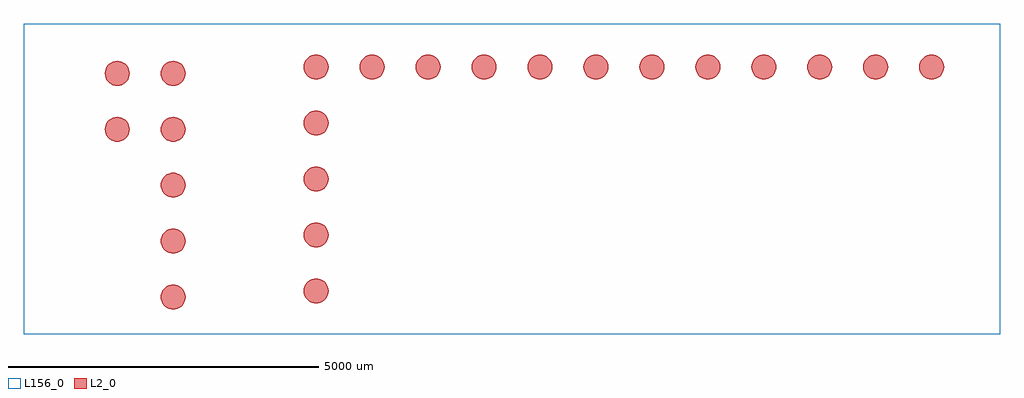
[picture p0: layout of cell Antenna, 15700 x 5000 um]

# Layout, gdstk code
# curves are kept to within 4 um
import gdstk
lib = gdstk.Library(unit=1e-6, precision=1e-09)
def R(c, l, rs):  # rectangles x0, y0, x1, y1
    for r in rs: c.add(gdstk.rectangle(r[:2], r[2:], *l))
def P(c, l, *ps):  # polygons
    for p in ps: c.add(gdstk.Polygon(p, *l))
L2_0 = (2, 0)
L156_0 = (156, 0)

antenna = lib.new_cell('Antenna')
P(antenna, L2_0, [(-39900,11200),(-39912.061,11131.596),(-39946.791,11071.442),(-39971.442,11046.791),(-40031.596,11012.061),(-40100,11000),(-40168.404,11012.061),(-40228.558,11046.791),(-40253.209,11071.442),(-40287.939,11131.596),(-40300,11200),(-40287.939,11268.404),(-40253.209,11328.558),(-40228.558,11353.209),(-40168.404,11387.939),(-40100,11400),(-40031.596,11387.939),(-39971.442,11353.209),(-39946.791,11328.558),(-39912.061,11268.404)],
  [(-39900,12100),(-39912.061,12031.596),(-39946.791,11971.442),(-39971.442,11946.791),(-40031.596,11912.061),(-40100,11900),(-40168.404,11912.061),(-40228.558,11946.791),(-40253.209,11971.442),(-40287.939,12031.596),(-40300,12100),(-40287.939,12168.404),(-40253.209,12228.558),(-40228.558,12253.209),(-40168.404,12287.939),(-40100,12300),(-40031.596,12287.939),(-39971.442,12253.209),(-39946.791,12228.558),(-39912.061,12168.404)],
  [(-29000,14000),(-28987.939,14068.404),(-28953.209,14128.558),(-28928.558,14153.209),(-28868.404,14187.939),(-28800,14200),(-28731.596,14187.939),(-28671.442,14153.209),(-28646.791,14128.558),(-28612.061,14068.404),(-28600,14000),(-28612.061,13931.596),(-28646.791,13871.442),(-28671.442,13846.791),(-28731.596,13812.061),(-28800,13800),(-28868.404,13812.061),(-28928.558,13846.791),(-28953.209,13871.442),(-28987.939,13931.596)],
  [(-38000,10400),(-37987.939,10468.404),(-37953.209,10528.558),(-37928.558,10553.209),(-37868.404,10587.939),(-37800,10600),(-37731.596,10587.939),(-37671.442,10553.209),(-37646.791,10528.558),(-37612.061,10468.404),(-37600,10400),(-37612.061,10331.596),(-37646.791,10271.442),(-37671.442,10246.791),(-37731.596,10212.061),(-37800,10200),(-37868.404,10212.061),(-37928.558,10246.791),(-37953.209,10271.442),(-37987.939,10331.596)],
  [(-32600,14000),(-32587.939,14068.404),(-32553.209,14128.558),(-32528.558,14153.209),(-32468.404,14187.939),(-32400,14200),(-32331.596,14187.939),(-32271.442,14153.209),(-32246.791,14128.558),(-32212.061,14068.404),(-32200,14000),(-32212.061,13931.596),(-32246.791,13871.442),(-32271.442,13846.791),(-32331.596,13812.061),(-32400,13800),(-32468.404,13812.061),(-32528.558,13846.791),(-32553.209,13871.442),(-32587.939,13931.596)],
  [(-32200,14000),(-32212.061,13931.596),(-32246.791,13871.442),(-32271.442,13846.791),(-32331.596,13812.061),(-32400,13800),(-32468.404,13812.061),(-32528.558,13846.791),(-32553.209,13871.442),(-32587.939,13931.596),(-32600,14000),(-32587.939,14068.404),(-32553.209,14128.558),(-32528.558,14153.209),(-32468.404,14187.939),(-32400,14200),(-32331.596,14187.939),(-32271.442,14153.209),(-32246.791,14128.558),(-32212.061,14068.404)],
  [(-37600,10400),(-37612.061,10331.596),(-37646.791,10271.442),(-37671.442,10246.791),(-37731.596,10212.061),(-37800,10200),(-37868.404,10212.061),(-37928.558,10246.791),(-37953.209,10271.442),(-37987.939,10331.596),(-38000,10400),(-37987.939,10468.404),(-37953.209,10528.558),(-37928.558,10553.209),(-37868.404,10587.939),(-37800,10600),(-37731.596,10587.939),(-37671.442,10553.209),(-37646.791,10528.558),(-37612.061,10468.404)],
  [(-40800,13900),(-40812.061,13831.596),(-40846.791,13771.442),(-40871.442,13746.791),(-40931.596,13712.061),(-41000,13700),(-41068.404,13712.061),(-41128.558,13746.791),(-41153.209,13771.442),(-41187.939,13831.596),(-41200,13900),(-41187.939,13968.404),(-41153.209,14028.558),(-41128.558,14053.209),(-41068.404,14087.939),(-41000,14100),(-40931.596,14087.939),(-40871.442,14053.209),(-40846.791,14028.558),(-40812.061,13968.404)],
  [(-30400,14000),(-30412.061,13931.596),(-30446.791,13871.442),(-30471.442,13846.791),(-30531.596,13812.061),(-30600,13800),(-30668.404,13812.061),(-30728.558,13846.791),(-30753.209,13871.442),(-30787.939,13931.596),(-30800,14000),(-30787.939,14068.404),(-30753.209,14128.558),(-30728.558,14153.209),(-30668.404,14187.939),(-30600,14200),(-30531.596,14187.939),(-30471.442,14153.209),(-30446.791,14128.558),(-30412.061,14068.404)],
  [(-34000,14000),(-34012.061,13931.596),(-34046.791,13871.442),(-34071.442,13846.791),(-34131.596,13812.061),(-34200,13800),(-34268.404,13812.061),(-34328.558,13846.791),(-34353.209,13871.442),(-34387.939,13931.596),(-34400,14000),(-34387.939,14068.404),(-34353.209,14128.558),(-34328.558,14153.209),(-34268.404,14187.939),(-34200,14200),(-34131.596,14187.939),(-34071.442,14153.209),(-34046.791,14128.558),(-34012.061,14068.404)],
  [(-32200,14000),(-32212.061,13931.596),(-32246.791,13871.442),(-32271.442,13846.791),(-32331.596,13812.061),(-32400,13800),(-32468.404,13812.061),(-32528.558,13846.791),(-32553.209,13871.442),(-32587.939,13931.596),(-32600,14000),(-32587.939,14068.404),(-32553.209,14128.558),(-32528.558,14153.209),(-32468.404,14187.939),(-32400,14200),(-32331.596,14187.939),(-32271.442,14153.209),(-32246.791,14128.558),(-32212.061,14068.404)],
  [(-37600,12200),(-37612.061,12131.596),(-37646.791,12071.442),(-37671.442,12046.791),(-37731.596,12012.061),(-37800,12000),(-37868.404,12012.061),(-37928.558,12046.791),(-37953.209,12071.442),(-37987.939,12131.596),(-38000,12200),(-37987.939,12268.404),(-37953.209,12328.558),(-37928.558,12353.209),(-37868.404,12387.939),(-37800,12400),(-37731.596,12387.939),(-37671.442,12353.209),(-37646.791,12328.558),(-37612.061,12268.404)],
  [(-39900,12100),(-39912.061,12031.596),(-39946.791,11971.442),(-39971.442,11946.791),(-40031.596,11912.061),(-40100,11900),(-40168.404,11912.061),(-40228.558,11946.791),(-40253.209,11971.442),(-40287.939,12031.596),(-40300,12100),(-40287.939,12168.404),(-40253.209,12228.558),(-40228.558,12253.209),(-40168.404,12287.939),(-40100,12300),(-40031.596,12287.939),(-39971.442,12253.209),(-39946.791,12228.558),(-39912.061,12168.404)],
  [(-39900,10300),(-39912.061,10231.596),(-39946.791,10171.442),(-39971.442,10146.791),(-40031.596,10112.061),(-40100,10100),(-40168.404,10112.061),(-40228.558,10146.791),(-40253.209,10171.442),(-40287.939,10231.596),(-40300,10300),(-40287.939,10368.404),(-40253.209,10428.558),(-40228.558,10453.209),(-40168.404,10487.939),(-40100,10500),(-40031.596,10487.939),(-39971.442,10453.209),(-39946.791,10428.558),(-39912.061,10368.404)],
  [(-34900,14000),(-34912.061,13931.596),(-34946.791,13871.442),(-34971.442,13846.791),(-35031.596,13812.061),(-35100,13800),(-35168.404,13812.061),(-35228.558,13846.791),(-35253.209,13871.442),(-35287.939,13931.596),(-35300,14000),(-35287.939,14068.404),(-35253.209,14128.558),(-35228.558,14153.209),(-35168.404,14187.939),(-35100,14200),(-35031.596,14187.939),(-34971.442,14153.209),(-34946.791,14128.558),(-34912.061,14068.404)],
  [(-38000,14000),(-37987.939,14068.404),(-37953.209,14128.558),(-37928.558,14153.209),(-37868.404,14187.939),(-37800,14200),(-37731.596,14187.939),(-37671.442,14153.209),(-37646.791,14128.558),(-37612.061,14068.404),(-37600,14000),(-37612.061,13931.596),(-37646.791,13871.442),(-37671.442,13846.791),(-37731.596,13812.061),(-37800,13800),(-37868.404,13812.061),(-37928.558,13846.791),(-37953.209,13871.442),(-37987.939,13931.596)],
  [(-37600,14000),(-37612.061,13931.596),(-37646.791,13871.442),(-37671.442,13846.791),(-37731.596,13812.061),(-37800,13800),(-37868.404,13812.061),(-37928.558,13846.791),(-37953.209,13871.442),(-37987.939,13931.596),(-38000,14000),(-37987.939,14068.404),(-37953.209,14128.558),(-37928.558,14153.209),(-37868.404,14187.939),(-37800,14200),(-37731.596,14187.939),(-37671.442,14153.209),(-37646.791,14128.558),(-37612.061,14068.404)],
  [(-37600,14000),(-37612.061,13931.596),(-37646.791,13871.442),(-37671.442,13846.791),(-37731.596,13812.061),(-37800,13800),(-37868.404,13812.061),(-37928.558,13846.791),(-37953.209,13871.442),(-37987.939,13931.596),(-38000,14000),(-37987.939,14068.404),(-37953.209,14128.558),(-37928.558,14153.209),(-37868.404,14187.939),(-37800,14200),(-37731.596,14187.939),(-37671.442,14153.209),(-37646.791,14128.558),(-37612.061,14068.404)],
  [(-35800,14000),(-35812.061,13931.596),(-35846.791,13871.442),(-35871.442,13846.791),(-35931.596,13812.061),(-36000,13800),(-36068.404,13812.061),(-36128.558,13846.791),(-36153.209,13871.442),(-36187.939,13931.596),(-36200,14000),(-36187.939,14068.404),(-36153.209,14128.558),(-36128.558,14153.209),(-36068.404,14187.939),(-36000,14200),(-35931.596,14187.939),(-35871.442,14153.209),(-35846.791,14128.558),(-35812.061,14068.404)],
  [(-30800,14000),(-30787.939,14068.404),(-30753.209,14128.558),(-30728.558,14153.209),(-30668.404,14187.939),(-30600,14200),(-30531.596,14187.939),(-30471.442,14153.209),(-30446.791,14128.558),(-30412.061,14068.404),(-30400,14000),(-30412.061,13931.596),(-30446.791,13871.442),(-30471.442,13846.791),(-30531.596,13812.061),(-30600,13800),(-30668.404,13812.061),(-30728.558,13846.791),(-30753.209,13871.442),(-30787.939,13931.596)],
  [(-30400,14000),(-30412.061,13931.596),(-30446.791,13871.442),(-30471.442,13846.791),(-30531.596,13812.061),(-30600,13800),(-30668.404,13812.061),(-30728.558,13846.791),(-30753.209,13871.442),(-30787.939,13931.596),(-30800,14000),(-30787.939,14068.404),(-30753.209,14128.558),(-30728.558,14153.209),(-30668.404,14187.939),(-30600,14200),(-30531.596,14187.939),(-30471.442,14153.209),(-30446.791,14128.558),(-30412.061,14068.404)],
  [(-27700,14000),(-27712.061,13931.596),(-27746.791,13871.442),(-27771.442,13846.791),(-27831.596,13812.061),(-27900,13800),(-27968.404,13812.061),(-28028.558,13846.791),(-28053.209,13871.442),(-28087.939,13931.596),(-28100,14000),(-28087.939,14068.404),(-28053.209,14128.558),(-28028.558,14153.209),(-27968.404,14187.939),(-27900,14200),(-27831.596,14187.939),(-27771.442,14153.209),(-27746.791,14128.558),(-27712.061,14068.404)],
  [(-37600,13100),(-37612.061,13031.596),(-37646.791,12971.442),(-37671.442,12946.791),(-37731.596,12912.061),(-37800,12900),(-37868.404,12912.061),(-37928.558,12946.791),(-37953.209,12971.442),(-37987.939,13031.596),(-38000,13100),(-37987.939,13168.404),(-37953.209,13228.558),(-37928.558,13253.209),(-37868.404,13287.939),(-37800,13300),(-37731.596,13287.939),(-37671.442,13253.209),(-37646.791,13228.558),(-37612.061,13168.404)],
  [(-34400,14000),(-34387.939,14068.404),(-34353.209,14128.558),(-34328.558,14153.209),(-34268.404,14187.939),(-34200,14200),(-34131.596,14187.939),(-34071.442,14153.209),(-34046.791,14128.558),(-34012.061,14068.404),(-34000,14000),(-34012.061,13931.596),(-34046.791,13871.442),(-34071.442,13846.791),(-34131.596,13812.061),(-34200,13800),(-34268.404,13812.061),(-34328.558,13846.791),(-34353.209,13871.442),(-34387.939,13931.596)],
  [(-39900,10300),(-39912.061,10231.596),(-39946.791,10171.442),(-39971.442,10146.791),(-40031.596,10112.061),(-40100,10100),(-40168.404,10112.061),(-40228.558,10146.791),(-40253.209,10171.442),(-40287.939,10231.596),(-40300,10300),(-40287.939,10368.404),(-40253.209,10428.558),(-40228.558,10453.209),(-40168.404,10487.939),(-40100,10500),(-40031.596,10487.939),(-39971.442,10453.209),(-39946.791,10428.558),(-39912.061,10368.404)],
  [(-35800,14000),(-35812.061,13931.596),(-35846.791,13871.442),(-35871.442,13846.791),(-35931.596,13812.061),(-36000,13800),(-36068.404,13812.061),(-36128.558,13846.791),(-36153.209,13871.442),(-36187.939,13931.596),(-36200,14000),(-36187.939,14068.404),(-36153.209,14128.558),(-36128.558,14153.209),(-36068.404,14187.939),(-36000,14200),(-35931.596,14187.939),(-35871.442,14153.209),(-35846.791,14128.558),(-35812.061,14068.404)],
  [(-37600,10400),(-37612.061,10331.596),(-37646.791,10271.442),(-37671.442,10246.791),(-37731.596,10212.061),(-37800,10200),(-37868.404,10212.061),(-37928.558,10246.791),(-37953.209,10271.442),(-37987.939,10331.596),(-38000,10400),(-37987.939,10468.404),(-37953.209,10528.558),(-37928.558,10553.209),(-37868.404,10587.939),(-37800,10600),(-37731.596,10587.939),(-37671.442,10553.209),(-37646.791,10528.558),(-37612.061,10468.404)],
  [(-34000,14000),(-34012.061,13931.596),(-34046.791,13871.442),(-34071.442,13846.791),(-34131.596,13812.061),(-34200,13800),(-34268.404,13812.061),(-34328.558,13846.791),(-34353.209,13871.442),(-34387.939,13931.596),(-34400,14000),(-34387.939,14068.404),(-34353.209,14128.558),(-34328.558,14153.209),(-34268.404,14187.939),(-34200,14200),(-34131.596,14187.939),(-34071.442,14153.209),(-34046.791,14128.558),(-34012.061,14068.404)],
  [(-29500,14000),(-29512.061,13931.596),(-29546.791,13871.442),(-29571.442,13846.791),(-29631.596,13812.061),(-29700,13800),(-29768.404,13812.061),(-29828.558,13846.791),(-29853.209,13871.442),(-29887.939,13931.596),(-29900,14000),(-29887.939,14068.404),(-29853.209,14128.558),(-29828.558,14153.209),(-29768.404,14187.939),(-29700,14200),(-29631.596,14187.939),(-29571.442,14153.209),(-29546.791,14128.558),(-29512.061,14068.404)],
  [(-37600,11300),(-37612.061,11231.596),(-37646.791,11171.442),(-37671.442,11146.791),(-37731.596,11112.061),(-37800,11100),(-37868.404,11112.061),(-37928.558,11146.791),(-37953.209,11171.442),(-37987.939,11231.596),(-38000,11300),(-37987.939,11368.404),(-37953.209,11428.558),(-37928.558,11453.209),(-37868.404,11487.939),(-37800,11500),(-37731.596,11487.939),(-37671.442,11453.209),(-37646.791,11428.558),(-37612.061,11368.404)],
  [(-31300,14000),(-31312.061,13931.596),(-31346.791,13871.442),(-31371.442,13846.791),(-31431.596,13812.061),(-31500,13800),(-31568.404,13812.061),(-31628.558,13846.791),(-31653.209,13871.442),(-31687.939,13931.596),(-31700,14000),(-31687.939,14068.404),(-31653.209,14128.558),(-31628.558,14153.209),(-31568.404,14187.939),(-31500,14200),(-31431.596,14187.939),(-31371.442,14153.209),(-31346.791,14128.558),(-31312.061,14068.404)],
  [(-33100,14000),(-33112.061,13931.596),(-33146.791,13871.442),(-33171.442,13846.791),(-33231.596,13812.061),(-33300,13800),(-33368.404,13812.061),(-33428.558,13846.791),(-33453.209,13871.442),(-33487.939,13931.596),(-33500,14000),(-33487.939,14068.404),(-33453.209,14128.558),(-33428.558,14153.209),(-33368.404,14187.939),(-33300,14200),(-33231.596,14187.939),(-33171.442,14153.209),(-33146.791,14128.558),(-33112.061,14068.404)],
  [(-40800,13000),(-40812.061,12931.596),(-40846.791,12871.442),(-40871.442,12846.791),(-40931.596,12812.061),(-41000,12800),(-41068.404,12812.061),(-41128.558,12846.791),(-41153.209,12871.442),(-41187.939,12931.596),(-41200,13000),(-41187.939,13068.404),(-41153.209,13128.558),(-41128.558,13153.209),(-41068.404,13187.939),(-41000,13200),(-40931.596,13187.939),(-40871.442,13153.209),(-40846.791,13128.558),(-40812.061,13068.404)],
  [(-28600,14000),(-28612.061,13931.596),(-28646.791,13871.442),(-28671.442,13846.791),(-28731.596,13812.061),(-28800,13800),(-28868.404,13812.061),(-28928.558,13846.791),(-28953.209,13871.442),(-28987.939,13931.596),(-29000,14000),(-28987.939,14068.404),(-28953.209,14128.558),(-28928.558,14153.209),(-28868.404,14187.939),(-28800,14200),(-28731.596,14187.939),(-28671.442,14153.209),(-28646.791,14128.558),(-28612.061,14068.404)],
  [(-36700,14000),(-36712.061,13931.596),(-36746.791,13871.442),(-36771.442,13846.791),(-36831.596,13812.061),(-36900,13800),(-36968.404,13812.061),(-37028.558,13846.791),(-37053.209,13871.442),(-37087.939,13931.596),(-37100,14000),(-37087.939,14068.404),(-37053.209,14128.558),(-37028.558,14153.209),(-36968.404,14187.939),(-36900,14200),(-36831.596,14187.939),(-36771.442,14153.209),(-36746.791,14128.558),(-36712.061,14068.404)],
  [(-39900,13900),(-39912.061,13831.596),(-39946.791,13771.442),(-39971.442,13746.791),(-40031.596,13712.061),(-40100,13700),(-40168.404,13712.061),(-40228.558,13746.791),(-40253.209,13771.442),(-40287.939,13831.596),(-40300,13900),(-40287.939,13968.404),(-40253.209,14028.558),(-40228.558,14053.209),(-40168.404,14087.939),(-40100,14100),(-40031.596,14087.939),(-39971.442,14053.209),(-39946.791,14028.558),(-39912.061,13968.404)],
  [(-38000,12200),(-37987.939,12268.404),(-37953.209,12328.558),(-37928.558,12353.209),(-37868.404,12387.939),(-37800,12400),(-37731.596,12387.939),(-37671.442,12353.209),(-37646.791,12328.558),(-37612.061,12268.404),(-37600,12200),(-37612.061,12131.596),(-37646.791,12071.442),(-37671.442,12046.791),(-37731.596,12012.061),(-37800,12000),(-37868.404,12012.061),(-37928.558,12046.791),(-37953.209,12071.442),(-37987.939,12131.596)],
  [(-40300,10300),(-40287.939,10368.404),(-40253.209,10428.558),(-40228.558,10453.209),(-40168.404,10487.939),(-40100,10500),(-40031.596,10487.939),(-39971.442,10453.209),(-39946.791,10428.558),(-39912.061,10368.404),(-39900,10300),(-39912.061,10231.596),(-39946.791,10171.442),(-39971.442,10146.791),(-40031.596,10112.061),(-40100,10100),(-40168.404,10112.061),(-40228.558,10146.791),(-40253.209,10171.442),(-40287.939,10231.596)],
  [(-37600,12200),(-37612.061,12131.596),(-37646.791,12071.442),(-37671.442,12046.791),(-37731.596,12012.061),(-37800,12000),(-37868.404,12012.061),(-37928.558,12046.791),(-37953.209,12071.442),(-37987.939,12131.596),(-38000,12200),(-37987.939,12268.404),(-37953.209,12328.558),(-37928.558,12353.209),(-37868.404,12387.939),(-37800,12400),(-37731.596,12387.939),(-37671.442,12353.209),(-37646.791,12328.558),(-37612.061,12268.404)],
  [(-28600,14000),(-28612.061,13931.596),(-28646.791,13871.442),(-28671.442,13846.791),(-28731.596,13812.061),(-28800,13800),(-28868.404,13812.061),(-28928.558,13846.791),(-28953.209,13871.442),(-28987.939,13931.596),(-29000,14000),(-28987.939,14068.404),(-28953.209,14128.558),(-28928.558,14153.209),(-28868.404,14187.939),(-28800,14200),(-28731.596,14187.939),(-28671.442,14153.209),(-28646.791,14128.558),(-28612.061,14068.404)],
  [(-40300,12100),(-40287.939,12168.404),(-40253.209,12228.558),(-40228.558,12253.209),(-40168.404,12287.939),(-40100,12300),(-40031.596,12287.939),(-39971.442,12253.209),(-39946.791,12228.558),(-39912.061,12168.404),(-39900,12100),(-39912.061,12031.596),(-39946.791,11971.442),(-39971.442,11946.791),(-40031.596,11912.061),(-40100,11900),(-40168.404,11912.061),(-40228.558,11946.791),(-40253.209,11971.442),(-40287.939,12031.596)],
  [(-36200,14000),(-36187.939,14068.404),(-36153.209,14128.558),(-36128.558,14153.209),(-36068.404,14187.939),(-36000,14200),(-35931.596,14187.939),(-35871.442,14153.209),(-35846.791,14128.558),(-35812.061,14068.404),(-35800,14000),(-35812.061,13931.596),(-35846.791,13871.442),(-35871.442,13846.791),(-35931.596,13812.061),(-36000,13800),(-36068.404,13812.061),(-36128.558,13846.791),(-36153.209,13871.442),(-36187.939,13931.596)],
  [(-39900,13000),(-39912.061,12931.596),(-39946.791,12871.442),(-39971.442,12846.791),(-40031.596,12812.061),(-40100,12800),(-40168.404,12812.061),(-40228.558,12846.791),(-40253.209,12871.442),(-40287.939,12931.596),(-40300,13000),(-40287.939,13068.404),(-40253.209,13128.558),(-40228.558,13153.209),(-40168.404,13187.939),(-40100,13200),(-40031.596,13187.939),(-39971.442,13153.209),(-39946.791,13128.558),(-39912.061,13068.404)])
R(antenna, L156_0, [(-42500,9700,-26800,14700)])

lib.write_gds('Antenna.gds')
